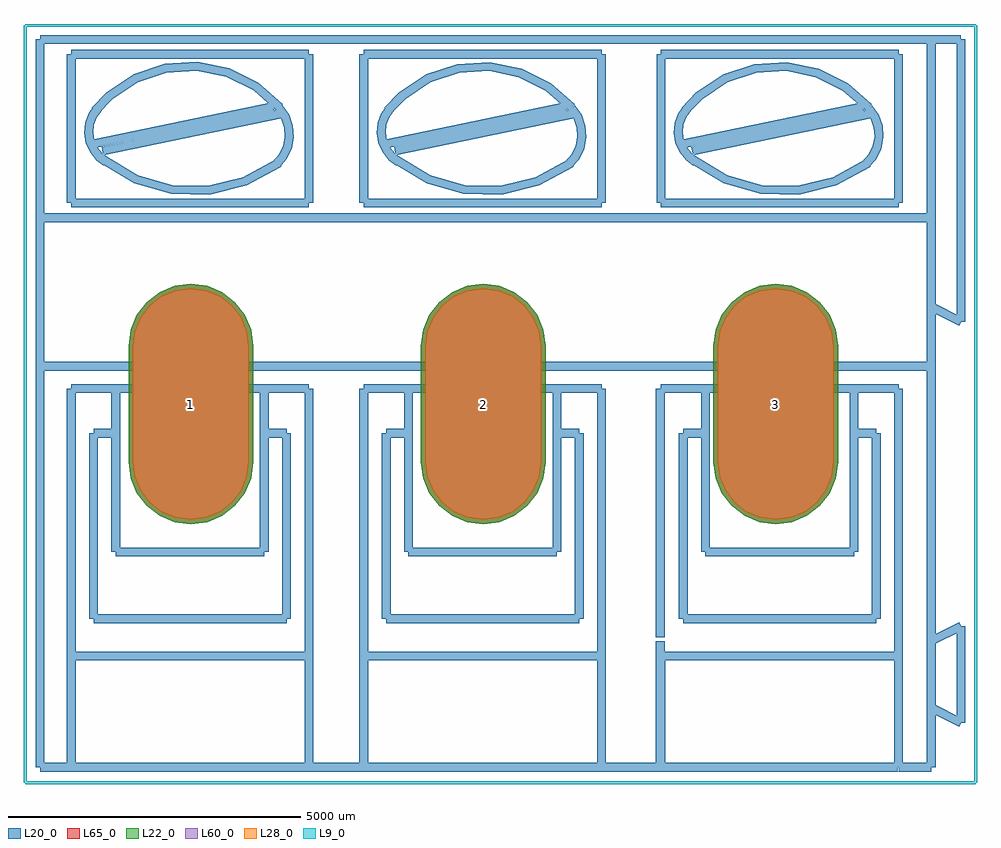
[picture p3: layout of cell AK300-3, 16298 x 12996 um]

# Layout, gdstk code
import gdstk
lib = gdstk.Library(unit=1e-6, precision=1e-09)
def P(c, l, *ps):  # polygons
    for p in ps: c.add(gdstk.Polygon(p, *l))
L9_0 = (9, 0)
L20_0 = (20, 0)
L22_0 = (22, 0)
L28_0 = (28, 0)
L60_0 = (60, 0)
L65_0 = (65, 0)

ak300_3 = lib.new_cell('AK300-3')
P(ak300_3, L22_0, [(10000,-2056.2),(10275.798,-2019.891),(10532.8,-1913.437),(10753.493,-1744.093),(10922.837,-1523.4),(11029.291,-1266.398),(11065.6,-990.6),(11065.6,990.6),(11029.291,1266.398),(10922.837,1523.4),(10753.493,1744.093),(10532.8,1913.437),(10275.798,2019.891),(10000,2056.2),(9724.202,2019.891),(9467.2,1913.437),(9246.507,1744.093),(9077.163,1523.4),(8970.709,1266.398),(8934.4,990.6),(8934.4,-990.6),(8970.709,-1266.398),(9077.163,-1523.4),(9246.507,-1744.093),(9467.2,-1913.437),(9724.202,-2019.891)],
  [(5000,-2056.2),(5275.798,-2019.891),(5532.8,-1913.437),(5753.493,-1744.093),(5922.837,-1523.4),(6029.291,-1266.398),(6065.6,-990.6),(6065.6,990.6),(6029.291,1266.398),(5922.837,1523.4),(5753.493,1744.093),(5532.8,1913.437),(5275.798,2019.891),(5000,2056.2),(4724.202,2019.891),(4467.2,1913.437),(4246.507,1744.093),(4077.163,1523.4),(3970.709,1266.398),(3934.4,990.6),(3934.4,-990.6),(3970.709,-1266.398),(4077.163,-1523.4),(4246.507,-1744.093),(4467.2,-1913.437),(4724.202,-2019.891)],
  [(0,-2056.2),(275.798,-2019.891),(532.8,-1913.437),(753.493,-1744.093),(922.837,-1523.4),(1029.291,-1266.398),(1065.6,-990.6),(1065.6,990.6),(1029.291,1266.398),(922.837,1523.4),(753.493,1744.093),(532.8,1913.437),(275.798,2019.891),(0,2056.2),(-275.798,2019.891),(-532.8,1913.437),(-753.493,1744.093),(-922.837,1523.4),(-1029.291,1266.398),(-1065.6,990.6),(-1065.6,-990.6),(-1029.291,-1266.398),(-922.837,-1523.4),(-753.493,-1744.093),(-532.8,-1913.437),(-275.798,-2019.891)])
P(ak300_3, L28_0, [(10000,-1981.2),(10256.386,-1947.446),(10495.3,-1848.485),(10700.46,-1691.06),(10857.885,-1485.9),(10956.846,-1246.986),(10990.6,-990.6),(10990.6,990.6),(10956.846,1246.986),(10857.885,1485.9),(10700.46,1691.06),(10495.3,1848.485),(10256.386,1947.446),(10000,1981.2),(9743.614,1947.446),(9504.7,1848.485),(9299.54,1691.06),(9142.115,1485.9),(9043.154,1246.986),(9009.4,990.6),(9009.4,-990.6),(9043.154,-1246.986),(9142.115,-1485.9),(9299.54,-1691.06),(9504.7,-1848.485),(9743.614,-1947.446)],
  [(5000,-1981.2),(5256.386,-1947.446),(5495.3,-1848.485),(5700.46,-1691.06),(5857.885,-1485.9),(5956.846,-1246.986),(5990.6,-990.6),(5990.6,990.6),(5956.846,1246.986),(5857.885,1485.9),(5700.46,1691.06),(5495.3,1848.485),(5256.386,1947.446),(5000,1981.2),(4743.614,1947.446),(4504.7,1848.485),(4299.54,1691.06),(4142.115,1485.9),(4043.154,1246.986),(4009.4,990.6),(4009.4,-990.6),(4043.154,-1246.986),(4142.115,-1485.9),(4299.54,-1691.06),(4504.7,-1848.485),(4743.614,-1947.446)],
  [(0,-1981.2),(256.386,-1947.446),(495.3,-1848.485),(700.46,-1691.06),(857.885,-1485.9),(956.846,-1246.986),(990.6,-990.6),(990.6,990.6),(956.846,1246.986),(857.885,1485.9),(700.46,1691.06),(495.3,1848.485),(256.386,1947.446),(0,1981.2),(-256.386,1947.446),(-495.3,1848.485),(-700.46,1691.06),(-857.885,1485.9),(-956.846,1246.986),(-990.6,990.6),(-990.6,-990.6),(-956.846,-1246.986),(-857.885,-1485.9),(-700.46,-1691.06),(-495.3,-1848.485),(-256.386,-1947.446)])
P(ak300_3, L60_0, [(10000,-1981.2),(10256.386,-1947.446),(10495.3,-1848.485),(10700.46,-1691.06),(10857.885,-1485.9),(10956.846,-1246.986),(10990.6,-990.6),(10990.6,990.6),(10956.846,1246.986),(10857.885,1485.9),(10700.46,1691.06),(10495.3,1848.485),(10256.386,1947.446),(10000,1981.2),(9743.614,1947.446),(9504.7,1848.485),(9299.54,1691.06),(9142.115,1485.9),(9043.154,1246.986),(9009.4,990.6),(9009.4,-990.6),(9043.154,-1246.986),(9142.115,-1485.9),(9299.54,-1691.06),(9504.7,-1848.485),(9743.614,-1947.446)],
  [(5000,-1981.2),(5256.386,-1947.446),(5495.3,-1848.485),(5700.46,-1691.06),(5857.885,-1485.9),(5956.846,-1246.986),(5990.6,-990.6),(5990.6,990.6),(5956.846,1246.986),(5857.885,1485.9),(5700.46,1691.06),(5495.3,1848.485),(5256.386,1947.446),(5000,1981.2),(4743.614,1947.446),(4504.7,1848.485),(4299.54,1691.06),(4142.115,1485.9),(4043.154,1246.986),(4009.4,990.6),(4009.4,-990.6),(4043.154,-1246.986),(4142.115,-1485.9),(4299.54,-1691.06),(4504.7,-1848.485),(4743.614,-1947.446)],
  [(0,-1981.2),(256.386,-1947.446),(495.3,-1848.485),(700.46,-1691.06),(857.885,-1485.9),(956.846,-1246.986),(990.6,-990.6),(990.6,990.6),(956.846,1246.986),(857.885,1485.9),(700.46,1691.06),(495.3,1848.485),(256.386,1947.446),(0,1981.2),(-256.386,1947.446),(-495.3,1848.485),(-700.46,1691.06),(-857.885,1485.9),(-956.846,1246.986),(-990.6,990.6),(-990.6,-990.6),(-956.846,-1246.986),(-857.885,-1485.9),(-700.46,-1691.06),(-495.3,-1848.485),(-256.386,-1947.446)])
P(ak300_3, L65_0, [(10000,-2056.2),(10275.798,-2019.891),(10532.8,-1913.437),(10753.493,-1744.093),(10922.837,-1523.4),(11029.291,-1266.398),(11065.6,-990.6),(11065.6,990.6),(11029.291,1266.398),(10922.837,1523.4),(10753.493,1744.093),(10532.8,1913.437),(10275.798,2019.891),(10000,2056.2),(9724.202,2019.891),(9467.2,1913.437),(9246.507,1744.093),(9077.163,1523.4),(8970.709,1266.398),(8934.4,990.6),(8934.4,-990.6),(8970.709,-1266.398),(9077.163,-1523.4),(9246.507,-1744.093),(9467.2,-1913.437),(9724.202,-2019.891)],
  [(5000,-2056.2),(5275.798,-2019.891),(5532.8,-1913.437),(5753.493,-1744.093),(5922.837,-1523.4),(6029.291,-1266.398),(6065.6,-990.6),(6065.6,990.6),(6029.291,1266.398),(5922.837,1523.4),(5753.493,1744.093),(5532.8,1913.437),(5275.798,2019.891),(5000,2056.2),(4724.202,2019.891),(4467.2,1913.437),(4246.507,1744.093),(4077.163,1523.4),(3970.709,1266.398),(3934.4,990.6),(3934.4,-990.6),(3970.709,-1266.398),(4077.163,-1523.4),(4246.507,-1744.093),(4467.2,-1913.437),(4724.202,-2019.891)],
  [(0,-2056.2),(275.798,-2019.891),(532.8,-1913.437),(753.493,-1744.093),(922.837,-1523.4),(1029.291,-1266.398),(1065.6,-990.6),(1065.6,990.6),(1029.291,1266.398),(922.837,1523.4),(753.493,1744.093),(532.8,1913.437),(275.798,2019.891),(0,2056.2),(-275.798,2019.891),(-532.8,1913.437),(-753.493,1744.093),(-922.837,1523.4),(-1029.291,1266.398),(-1065.6,990.6),(-1065.6,-990.6),(-1029.291,-1266.398),(-922.837,-1523.4),(-753.493,-1744.093),(-532.8,-1913.437),(-275.798,-2019.891)])
ak300_3.add(gdstk.FlexPath([(-1589.519,5061.018),(-1679.716,4935.417),(-1734.332,4790.751),(-1749.645,4636.879),(-1724.61,4484.286),(-1660.935,4343.372),(-1562.959,4223.74),(-1444.62,4137.5)], 149.998, ends="flush", simple_path=True, layer=20, datatype=0))  # L20_0
ak300_3.add(gdstk.FlexPath([(1516.572,5071.846),(1113.322,5427.942),(631.648,5667.535),(104.376,5774.298),(-432.563,5740.955),(-942.576,5569.778),(-1390.907,5272.433),(-1640.2,5013.8)], 149.998, ends="flush", simple_path=True, layer=20, datatype=0))  # L20_0
ak300_3.add(gdstk.FlexPath([(-1485.988,4175.105),(-940.856,3845.404),(-328.966,3668.029),(307.983,3655.066),(926.583,3807.399),(1484.679,4114.647),(1501.78,4127.34)], 149.998, ends="flush", simple_path=True, layer=20, datatype=0))  # L20_0
ak300_3.add(gdstk.FlexPath([(1454.149,4092.89),(1571.23,4227.515),(1649.477,4387.855),(1683.56,4562.984),(1671.154,4740.967),(1613.106,4909.675),(1513.37,5057.609),(1509.4,5062.06)], 149.998, ends="flush", simple_path=True, layer=20, datatype=0))  # L20_0
ak300_3.add(gdstk.FlexPath([(3414.904,5063.481),(3324.048,4937.957),(3268.776,4793.195),(3252.854,4639.061),(3277.368,4486.057),(3340.647,4344.612),(3438.379,4224.364),(3556.64,4137.5)], 149.998, ends="flush", simple_path=True, layer=20, datatype=0))  # L20_0
ak300_3.add(gdstk.FlexPath([(6514.41,5066.844),(6112.485,5422.882),(5632.105,5662.762),(5106.009,5770.137),(4570.048,5737.69),(4060.748,5567.631),(3612.816,5271.55),(3363.6,5013.8)], 149.998, ends="flush", simple_path=True, layer=20, datatype=0))  # L20_0
ak300_3.add(gdstk.FlexPath([(3515.272,4175.105),(4060.404,3845.404),(4672.294,3668.029),(5309.243,3655.066),(5927.843,3807.399),(6485.939,4114.647),(6503.04,4127.34)], 149.998, ends="flush", simple_path=True, layer=20, datatype=0))  # L20_0
ak300_3.add(gdstk.FlexPath([(6457.971,4095.43),(6574.394,4229.974),(6652.026,4390.066),(6685.579,4564.796),(6672.765,4742.256),(6614.458,4910.353),(6514.631,5057.632),(6510.66,5062.06)], 149.998, ends="flush", simple_path=True, layer=20, datatype=0))  # L20_0
ak300_3.add(gdstk.FlexPath([(3338.2,264),(6640.2,264)], 149.998, ends="flush", simple_path=True, layer=20, datatype=0))  # L20_0
ak300_3.add(gdstk.FlexPath([(2957.2,264),(3338.2,264)], 149.998, ends="flush", simple_path=True, layer=20, datatype=0))  # L20_0
ak300_3.add(gdstk.FlexPath([(7021.2,264),(6640.2,264)], 149.998, ends="flush", simple_path=True, layer=20, datatype=0))  # L20_0
ak300_3.add(gdstk.FlexPath([(1636.4,264),(-1665.6,264)], 149.998, ends="flush", simple_path=True, layer=20, datatype=0))  # L20_0
ak300_3.add(gdstk.FlexPath([(2017.4,264),(1636.4,264)], 149.998, ends="flush", simple_path=True, layer=20, datatype=0))  # L20_0
ak300_3.add(gdstk.FlexPath([(-2046.6,264),(-1665.6,264)], 149.998, ends="flush", simple_path=True, layer=20, datatype=0))  # L20_0
ak300_3.add(gdstk.FlexPath([(-1513.2,4328),(1534.8,4963)], 149.998, ends="flush", simple_path=True, layer=20, datatype=0))  # L20_0
ak300_3.add(gdstk.FlexPath([(-1640.2,4455),(1410.34,5090)], 149.998, ends="flush", simple_path=True, layer=20, datatype=0))  # L20_0
ak300_3.add(gdstk.FlexPath([(3490.6,4328),(6538.6,4963)], 149.998, ends="flush", simple_path=True, layer=20, datatype=0))  # L20_0
ak300_3.add(gdstk.FlexPath([(3363.6,4455),(6411.6,5090)], 149.998, ends="flush", simple_path=True, layer=20, datatype=0))  # L20_0
ak300_3.add(gdstk.FlexPath([(2017.4,5979),(-2046.6,5979)], 149.998, ends="flush", simple_path=True, layer=20, datatype=0))  # L20_0
ak300_3.add(gdstk.FlexPath([(-2046.6,3439),(-2046.6,5979)], 149.998, ends="flush", simple_path=True, layer=20, datatype=0))  # L20_0
ak300_3.add(gdstk.FlexPath([(2017.4,3439),(-2046.6,3439)], 149.998, ends="flush", simple_path=True, layer=20, datatype=0))  # L20_0
ak300_3.add(gdstk.FlexPath([(2017.4,3439),(2017.4,5979)], 149.998, ends="flush", simple_path=True, layer=20, datatype=0))  # L20_0
ak300_3.add(gdstk.FlexPath([(7021.2,3439),(2957.2,3439)], 149.998, ends="flush", simple_path=True, layer=20, datatype=0))  # L20_0
ak300_3.add(gdstk.FlexPath([(7021.2,5979),(7021.2,3439)], 149.998, ends="flush", simple_path=True, layer=20, datatype=0))  # L20_0
ak300_3.add(gdstk.FlexPath([(2957.2,5979),(7021.2,5979)], 149.998, ends="flush", simple_path=True, layer=20, datatype=0))  # L20_0
ak300_3.add(gdstk.FlexPath([(2957.2,3439),(2957.2,5979)], 149.998, ends="flush", simple_path=True, layer=20, datatype=0))  # L20_0
ak300_3.add(gdstk.FlexPath([(-2580,3185),(-2580,6233)], 149.998, ends="flush", simple_path=True, layer=20, datatype=0))  # L20_0
ak300_3.add(gdstk.FlexPath([(-2580,3185),(7580,3185)], 149.998, ends="flush", simple_path=True, layer=20, datatype=0))  # L20_0
ak300_3.add(gdstk.FlexPath([(-2580,645),(-2580,3185)], 149.998, ends="flush", simple_path=True, layer=20, datatype=0))  # L20_0
ak300_3.add(gdstk.FlexPath([(-2580,-6213),(-2580,645)], 149.998, ends="flush", simple_path=True, layer=20, datatype=0))  # L20_0
ak300_3.add(gdstk.FlexPath([(6640.2,-498),(6259.2,-498)], 149.998, ends="flush", simple_path=True, layer=20, datatype=0))  # L20_0
ak300_3.add(gdstk.FlexPath([(3338.2,-498),(3719.2,-498)], 149.998, ends="flush", simple_path=True, layer=20, datatype=0))  # L20_0
ak300_3.add(gdstk.FlexPath([(1636.4,-498),(1255.4,-498)], 149.998, ends="flush", simple_path=True, layer=20, datatype=0))  # L20_0
ak300_3.add(gdstk.FlexPath([(-1665.6,-498),(-1284.6,-498)], 149.998, ends="flush", simple_path=True, layer=20, datatype=0))  # L20_0
ak300_3.add(gdstk.FlexPath([(-1665.6,-3673),(-1665.6,-498)], 149.998, ends="flush", simple_path=True, layer=20, datatype=0))  # L20_0
ak300_3.add(gdstk.FlexPath([(1636.4,-3673),(-1665.6,-3673)], 149.998, ends="flush", simple_path=True, layer=20, datatype=0))  # L20_0
ak300_3.add(gdstk.FlexPath([(1636.4,-3673),(1636.4,-498)], 149.998, ends="flush", simple_path=True, layer=20, datatype=0))  # L20_0
ak300_3.add(gdstk.FlexPath([(3338.2,-3673),(3338.2,-498)], 149.998, ends="flush", simple_path=True, layer=20, datatype=0))  # L20_0
ak300_3.add(gdstk.FlexPath([(6640.2,-3673),(3338.2,-3673)], 149.998, ends="flush", simple_path=True, layer=20, datatype=0))  # L20_0
ak300_3.add(gdstk.FlexPath([(6640.2,-3673),(6640.2,-498)], 149.998, ends="flush", simple_path=True, layer=20, datatype=0))  # L20_0
ak300_3.add(gdstk.FlexPath([(-2046.6,-4308),(-2046.6,-6213)], 149.998, ends="flush", simple_path=True, layer=20, datatype=0))  # L20_0
ak300_3.add(gdstk.FlexPath([(2017.4,-4308),(2017.4,264)], 149.998, ends="flush", simple_path=True, layer=20, datatype=0))  # L20_0
ak300_3.add(gdstk.FlexPath([(2017.4,-4308),(-2046.6,-4308)], 149.998, ends="flush", simple_path=True, layer=20, datatype=0))  # L20_0
ak300_3.add(gdstk.FlexPath([(7021.2,-4308),(7021.2,-6213)], 149.998, ends="flush", simple_path=True, layer=20, datatype=0))  # L20_0
ak300_3.add(gdstk.FlexPath([(2957.2,-4308),(2957.2,264)], 149.998, ends="flush", simple_path=True, layer=20, datatype=0))  # L20_0
ak300_3.add(gdstk.FlexPath([(2957.2,-4308),(7021.2,-4308)], 149.998, ends="flush", simple_path=True, layer=20, datatype=0))  # L20_0
ak300_3.add(gdstk.FlexPath([(-2046.6,-6213),(2017.4,-6213)], 149.998, ends="flush", simple_path=True, layer=20, datatype=0))  # L20_0
ak300_3.add(gdstk.FlexPath([(-2580,-6213),(-2046.6,-6213)], 149.998, ends="flush", simple_path=True, layer=20, datatype=0))  # L20_0
ak300_3.add(gdstk.FlexPath([(-2046.6,264),(-2046.6,-4308)], 149.998, ends="flush", simple_path=True, layer=20, datatype=0))  # L20_0
ak300_3.add(gdstk.FlexPath([(2017.4,-6213),(2957.2,-6213)], 149.998, ends="flush", simple_path=True, layer=20, datatype=0))  # L20_0
ak300_3.add(gdstk.FlexPath([(2017.4,-6213),(2017.4,-4308)], 149.998, ends="flush", simple_path=True, layer=20, datatype=0))  # L20_0
ak300_3.add(gdstk.FlexPath([(7021.2,-6213),(7580,-6213)], 149.998, ends="flush", simple_path=True, layer=20, datatype=0))  # L20_0
ak300_3.add(gdstk.FlexPath([(2957.2,-6213),(7021.2,-6213)], 149.998, ends="flush", simple_path=True, layer=20, datatype=0))  # L20_0
ak300_3.add(gdstk.FlexPath([(7021.2,264),(7021.2,-4308)], 149.998, ends="flush", simple_path=True, layer=20, datatype=0))  # L20_0
ak300_3.add(gdstk.FlexPath([(2957.2,-6213),(2957.2,-4308)], 149.998, ends="flush", simple_path=True, layer=20, datatype=0))  # L20_0
ak300_3.add(gdstk.FlexPath([(8024.5,-4054),(8024.5,-5197)], 149.998, ends="flush", simple_path=True, layer=20, datatype=0))  # L20_0
ak300_3.add(gdstk.FlexPath([(8024.5,-5197),(8024.5,-6213)], 149.998, ends="flush", simple_path=True, layer=20, datatype=0))  # L20_0
ak300_3.add(gdstk.FlexPath([(3719.2,-2530),(3719.2,264)], 149.998, ends="flush", simple_path=True, layer=20, datatype=0))  # L20_0
ak300_3.add(gdstk.FlexPath([(3719.2,264),(6259.2,264)], 149.998, ends="flush", simple_path=True, layer=20, datatype=0))  # L20_0
ak300_3.add(gdstk.FlexPath([(6259.2,-2530),(6259.2,264)], 149.998, ends="flush", simple_path=True, layer=20, datatype=0))  # L20_0
ak300_3.add(gdstk.FlexPath([(3719.2,-2530),(6259.2,-2530)], 149.998, ends="flush", simple_path=True, layer=20, datatype=0))  # L20_0
ak300_3.add(gdstk.FlexPath([(-1284.6,-2530),(-1284.6,264)], 149.998, ends="flush", simple_path=True, layer=20, datatype=0))  # L20_0
ak300_3.add(gdstk.FlexPath([(-1284.6,264),(1255.4,264)], 149.998, ends="flush", simple_path=True, layer=20, datatype=0))  # L20_0
ak300_3.add(gdstk.FlexPath([(1255.4,-2530),(1255.4,264)], 149.998, ends="flush", simple_path=True, layer=20, datatype=0))  # L20_0
ak300_3.add(gdstk.FlexPath([(-1284.6,-2530),(1255.4,-2530)], 149.998, ends="flush", simple_path=True, layer=20, datatype=0))  # L20_0
ak300_3.add(gdstk.FlexPath([(8799.2,-2530),(11339.2,-2530)], 149.998, ends="flush", simple_path=True, layer=20, datatype=0))  # L20_0
ak300_3.add(gdstk.FlexPath([(11339.2,-2530),(11339.2,264)], 149.998, ends="flush", simple_path=True, layer=20, datatype=0))  # L20_0
ak300_3.add(gdstk.FlexPath([(8799.2,264),(11339.2,264)], 149.998, ends="flush", simple_path=True, layer=20, datatype=0))  # L20_0
ak300_3.add(gdstk.FlexPath([(8799.2,-2530),(8799.2,264)], 149.998, ends="flush", simple_path=True, layer=20, datatype=0))  # L20_0
ak300_3.add(gdstk.FlexPath([(12660,6233),(12660,3185)], 149.998, ends="flush", simple_path=True, layer=20, datatype=0))  # L20_0
ak300_3.add(gdstk.FlexPath([(12660,6233),(13168,6233)], 149.998, ends="flush", simple_path=True, layer=20, datatype=0))  # L20_0
ak300_3.add(gdstk.FlexPath([(13168,6233),(13168,1407)], 149.998, ends="flush", simple_path=True, layer=20, datatype=0))  # L20_0
ak300_3.add(gdstk.FlexPath([(13168,1407),(12660,1661)], 149.998, ends="flush", simple_path=True, layer=20, datatype=0))  # L20_0
ak300_3.add(gdstk.FlexPath([(13168,-5451),(12660,-5197)], 149.998, ends="flush", simple_path=True, layer=20, datatype=0))  # L20_0
ak300_3.add(gdstk.FlexPath([(12660,-5197),(12660,-6213)], 149.998, ends="flush", simple_path=True, layer=20, datatype=0))  # L20_0
ak300_3.add(gdstk.FlexPath([(13168,-3800),(12660,-4054)], 149.998, ends="flush", simple_path=True, layer=20, datatype=0))  # L20_0
ak300_3.add(gdstk.FlexPath([(12660,-4054),(12660,-5197)], 149.998, ends="flush", simple_path=True, layer=20, datatype=0))  # L20_0
ak300_3.add(gdstk.FlexPath([(13168,-3800),(13168,-5451)], 149.998, ends="flush", simple_path=True, layer=20, datatype=0))  # L20_0
ak300_3.add(gdstk.FlexPath([(8037.2,-6213),(8037.2,-4308)], 149.998, ends="flush", simple_path=True, layer=20, datatype=0))  # L20_0
ak300_3.add(gdstk.FlexPath([(12101.2,264),(12101.2,-4308)], 149.998, ends="flush", simple_path=True, layer=20, datatype=0))  # L20_0
ak300_3.add(gdstk.FlexPath([(12101.2,-6213),(12660,-6213)], 149.998, ends="flush", simple_path=True, layer=20, datatype=0))  # L20_0
ak300_3.add(gdstk.FlexPath([(8037.2,-4308),(12101.2,-4308)], 149.998, ends="flush", simple_path=True, layer=20, datatype=0))  # L20_0
ak300_3.add(gdstk.FlexPath([(12101.2,-4308),(12101.2,-6213)], 149.998, ends="flush", simple_path=True, layer=20, datatype=0))  # L20_0
ak300_3.add(gdstk.FlexPath([(11720.2,-3673),(11720.2,-498)], 149.998, ends="flush", simple_path=True, layer=20, datatype=0))  # L20_0
ak300_3.add(gdstk.FlexPath([(11720.2,-3673),(8418.2,-3673)], 149.998, ends="flush", simple_path=True, layer=20, datatype=0))  # L20_0
ak300_3.add(gdstk.FlexPath([(8418.2,-3673),(8418.2,-498)], 149.998, ends="flush", simple_path=True, layer=20, datatype=0))  # L20_0
ak300_3.add(gdstk.FlexPath([(8418.2,-498),(8799.2,-498)], 149.998, ends="flush", simple_path=True, layer=20, datatype=0))  # L20_0
ak300_3.add(gdstk.FlexPath([(11720.2,-498),(11339.2,-498)], 149.998, ends="flush", simple_path=True, layer=20, datatype=0))  # L20_0
ak300_3.add(gdstk.FlexPath([(12660,1661),(12660,645)], 149.998, ends="flush", simple_path=True, layer=20, datatype=0))  # L20_0
ak300_3.add(gdstk.FlexPath([(12660,645),(12660,-4054)], 149.998, ends="flush", simple_path=True, layer=20, datatype=0))  # L20_0
ak300_3.add(gdstk.FlexPath([(12660,3185),(12660,1661)], 149.998, ends="flush", simple_path=True, layer=20, datatype=0))  # L20_0
ak300_3.add(gdstk.FlexPath([(8037.2,3439),(8037.2,5979)], 149.998, ends="flush", simple_path=True, layer=20, datatype=0))  # L20_0
ak300_3.add(gdstk.FlexPath([(8037.2,5979),(12101.2,5979)], 149.998, ends="flush", simple_path=True, layer=20, datatype=0))  # L20_0
ak300_3.add(gdstk.FlexPath([(12101.2,5979),(12101.2,3439)], 149.998, ends="flush", simple_path=True, layer=20, datatype=0))  # L20_0
ak300_3.add(gdstk.FlexPath([(12101.2,3439),(8037.2,3439)], 149.998, ends="flush", simple_path=True, layer=20, datatype=0))  # L20_0
ak300_3.add(gdstk.FlexPath([(8443.6,4455),(11491.6,5090)], 149.998, ends="flush", simple_path=True, layer=20, datatype=0))  # L20_0
ak300_3.add(gdstk.FlexPath([(8570.6,4328),(11618.6,4963)], 149.998, ends="flush", simple_path=True, layer=20, datatype=0))  # L20_0
ak300_3.add(gdstk.FlexPath([(12101.2,264),(11720.2,264)], 149.998, ends="flush", simple_path=True, layer=20, datatype=0))  # L20_0
ak300_3.add(gdstk.FlexPath([(8037.2,264),(8418.2,264)], 149.998, ends="flush", simple_path=True, layer=20, datatype=0))  # L20_0
ak300_3.add(gdstk.FlexPath([(8418.2,264),(11720.2,264)], 149.998, ends="flush", simple_path=True, layer=20, datatype=0))  # L20_0
ak300_3.add(gdstk.FlexPath([(11537.971,4095.43),(11654.394,4229.974),(11732.026,4390.066),(11765.579,4564.796),(11752.765,4742.256),(11694.458,4910.353),(11594.631,5057.632),(11590.66,5062.06)], 149.998, ends="flush", simple_path=True, layer=20, datatype=0))  # L20_0
ak300_3.add(gdstk.FlexPath([(8595.272,4175.105),(9140.404,3845.404),(9752.294,3668.029),(10389.243,3655.066),(11007.843,3807.399),(11565.939,4114.647),(11583.04,4127.34)], 149.998, ends="flush", simple_path=True, layer=20, datatype=0))  # L20_0
ak300_3.add(gdstk.FlexPath([(11594.41,5066.844),(11192.485,5422.882),(10712.105,5662.762),(10186.009,5770.137),(9650.048,5737.69),(9140.748,5567.631),(8692.816,5271.55),(8443.6,5013.8)], 149.998, ends="flush", simple_path=True, layer=20, datatype=0))  # L20_0
ak300_3.add(gdstk.FlexPath([(8494.904,5063.481),(8404.048,4937.957),(8348.776,4793.195),(8332.854,4639.061),(8357.368,4486.057),(8420.647,4344.612),(8518.379,4224.364),(8636.64,4137.5)], 149.998, ends="flush", simple_path=True, layer=20, datatype=0))  # L20_0
ak300_3.add(gdstk.FlexPath([(-2580,6233),(12660,6233)], 149.998, ends="flush", simple_path=True, layer=20, datatype=0))  # L20_0
ak300_3.add(gdstk.FlexPath([(7580,3185),(12596.5,3185)], 149.998, ends="flush", simple_path=True, layer=20, datatype=0))  # L20_0
ak300_3.add(gdstk.FlexPath([(12088.5,-6213),(7580,-6213)], 149.998, ends="flush", simple_path=True, layer=20, datatype=0))  # L20_0
ak300_3.add(gdstk.FlexPath([(8024.5,-3990.5),(8024.5,264)], 149.998, ends="flush", simple_path=True, layer=20, datatype=0))  # L20_0
ak300_3.add(gdstk.FlexPath([(12660,645),(-2516.5,645)], 149.998, ends="flush", simple_path=True, layer=20, datatype=0))  # L20_0
ak300_3.add(gdstk.FlexPath([(-2830,6473),(-2830,-6473)], 50, ends="flush", simple_path=True, layer=9, datatype=0))  # L9_0
ak300_3.add(gdstk.FlexPath([(-2830,-6473),(13418,-6473)], 50, ends="flush", simple_path=True, layer=9, datatype=0))  # L9_0
ak300_3.add(gdstk.FlexPath([(13418,-6473),(13418,6473)], 50, ends="flush", simple_path=True, layer=9, datatype=0))  # L9_0
ak300_3.add(gdstk.FlexPath([(13418,6473),(-2830,6473)], 50, ends="flush", simple_path=True, layer=9, datatype=0))  # L9_0
ak300_3.add(gdstk.Label('3', (10000,0), layer=28, texttype=0))
ak300_3.add(gdstk.Label('2', (5000,0), layer=28, texttype=0))
ak300_3.add(gdstk.Label('1', (0,0), layer=28, texttype=0))
ak300_3.add(gdstk.Label('type', (2754,-7737), layer=9, texttype=0))
ak300_3.add(gdstk.Label('devicename', (-1945,6995), layer=9, texttype=0))

lib.write_gds('AK300-3.gds')
